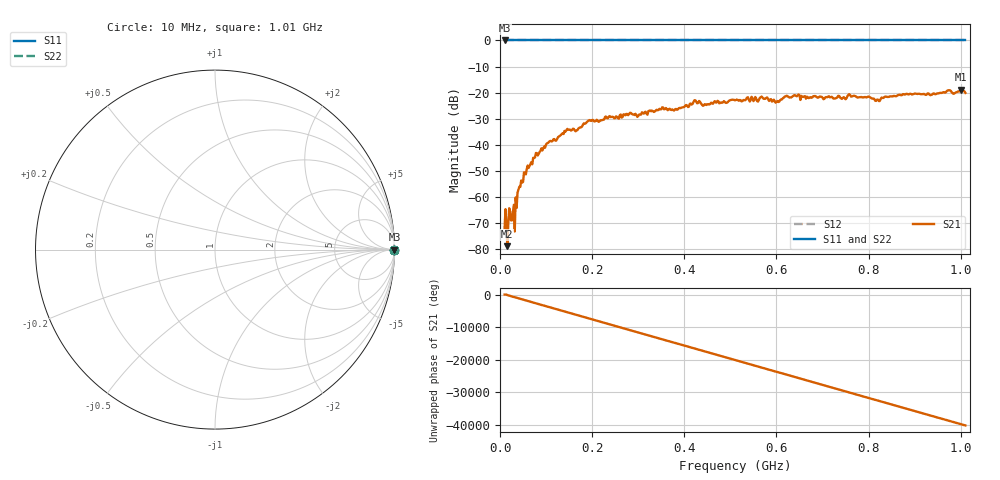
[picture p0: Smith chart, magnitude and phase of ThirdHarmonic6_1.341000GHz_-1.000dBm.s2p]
! 8/16/2025 3:03:02 PM
! C:\ANRITSUVNA\TEMP\TEMP.S2P
! CHANNEL.1
! TR.MEASUREMENT
! RAW.DATA
! RF.CORRECTION.OFF
! AVERAGING.OFF
! IF.BANDWIDTH: 5KHZ
! SWEEPTYPE:  FREQ.SWEEP(Linear)
! Reference Plane Port Info
! PORT:  PORT1  PORT2
! DISTANCE:  0  m  0  m
! TIME:  0  s  0  s
! PHASE.OFFSET:  0  deg.  0  deg.
! LOSS:  0  dB  0  dB
! REF.LOSS:  0  dB  0  dB
! REF.FREQ:  0  Hz  0  Hz
! Power Info
! POWER:  -20  dBm  -20  dBm
! EFF.POWER:  -20  dBm  -20  dBm
! SOURCE.ATTEN:  0  dB  0  dB
! TEST.ATTEN:  0  dB  0  dB
# GHZ S RI R 50.0
! FREQ.GHZ  S11RE  S11IM  S21RE  S21IM  S12RE  S12IM  S22RE  S22IM
!; PortSelection: Port_12
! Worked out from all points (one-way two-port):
!   501 points, 10 MHz to 1.01 GHz, reference 50 ohm
!   highest |S21| = -18.84 dB at 1 GHz (marker M1); lowest = -78.9 dB at 16 MHz (marker M2)
!   lowest |S11| = 0.0 dB at 10 MHz (marker M3)
!   |S11| at or under -10 dB: nowhere
!   |S22| runs from 0.0 to 0.0 dB; largest |S21 - S12| = 1.1
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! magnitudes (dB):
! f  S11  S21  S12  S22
! 10 MHz  0.0  -71.9  0.0  0.0
! 12 MHz  0.0  -64.6  0.0  0.0
! 16 MHz  0.0  -78.9  0.0  0.0
! 24 MHz  0.0  -69.0  0.0  0.0
! 28 MHz  0.0  -65.9  0.0  0.0
! 42 MHz  0.0  -56.1  0.0  0.0
! 56 MHz  0.0  -51.4  0.0  0.0
! 76 MHz  0.0  -44.8  0.0  0.0
! 144 MHz  0.0  -34.4  0.0  0.0
! 178 MHz  0.0  -33.0  0.0  0.0
! 196 MHz  0.0  -30.7  0.0  0.0
! 344 MHz  0.0  -26.6  0.0  0.0
! 510 MHz  0.0  -23.0  0.0  0.0
! 568 MHz  0.0  -21.5  0.0  0.0
! 602 MHz  0.0  -23.2  0.0  0.0
! 622 MHz  0.0  -21.2  0.0  0.0
! 678 MHz  0.0  -21.8  0.0  0.0
! 760 MHz  0.0  -21.0  0.0  0.0
! 820 MHz  0.0  -22.7  0.0  0.0
! 844 MHz  0.0  -21.6  0.0  0.0
! 1 GHz  0.0  -18.8  0.0  0.0
! 1.01 GHz  0.0  -20.1  0.0  0.0
